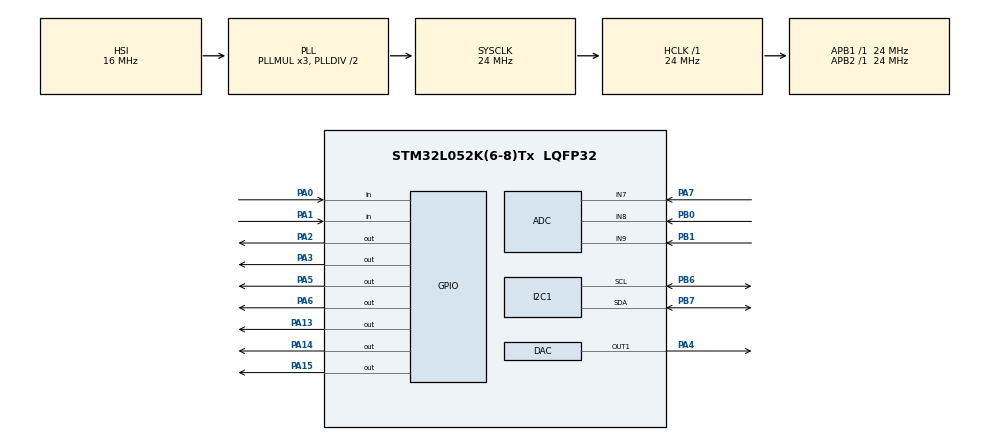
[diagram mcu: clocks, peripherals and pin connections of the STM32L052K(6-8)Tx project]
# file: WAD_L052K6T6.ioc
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ADC.ClockPrescaler=ADC_CLOCKPRESCALER_PCLK_DIV2
ADC.ContinuousConvMode=DISABLE
ADC.DMAContinuousRequests=DISABLE
ADC.DataAlign=ADC_DATAALIGN_RIGHT
ADC.DiscontinuousConvMode=DISABLE
ADC.EOCSelection=EOC_SINGLE_CONV
ADC.EnableAnalogWatchDog=false
ADC.ExternalTrigConvEdge=ADC_EXTERNALTRIG_EDGE_NONE
ADC.LowPowerAutoPowerOff=DISABLE
ADC.LowPowerAutoWait=DISABLE
ADC.LowPowerFrequencyMode=DISABLE
ADC.Overrun=OVR_DATA_PRESERVED
ADC.OversamplingMode=DISABLE
ADC.Resolution=ADC_RESOLUTION12b
ADC.SamplingTime=ADC_SAMPLETIME_1CYCLE_5
ADC.ScanConvMode=ADC_SCAN_DIRECTION_FORWARD
I2C1.OwnAddress=0x40
I2C1.Speed=50
I2C1.Timing=0x0050D9FF
Mcu.Family=STM32L0
Mcu.Name=STM32L052K(6-8)Tx
Mcu.Package=LQFP32
NVIC.RTC_IRQn=true\:0\:0\:false
PA0.Signal=GPIO_Input
PA1.Signal=GPIO_Input
PA13.Signal=GPIO_Output
PA14.Signal=GPIO_Output
PA15.GPIO_PuPd=GPIO_NOPULL
PA15.Signal=GPIO_Output
PA2.Signal=GPIO_Output
PA3.Signal=GPIO_Output
PA4.Signal=COMP_DAC1_group
PA5.Signal=GPIO_Output
PA6.Signal=GPIO_Output
PA7.Mode=IN7
PA7.Signal=ADC_IN7
PB0.Mode=IN8
PB0.Signal=ADC_IN8
PB1.Mode=IN9
PB1.Signal=ADC_IN9
PB6.Mode=I2C
PB6.Signal=I2C1_SCL
PB7.Mode=I2C
PB7.Signal=I2C1_SDA
ProjectManager.HeapSize=0x400
ProjectManager.StackSize=0x200
ProjectManager.TargetToolchain=MDK-ARM V5
RCC.AHBFreq_Value=24000000
RCC.APB1Freq_Value=24000000
RCC.APB1TimFreq_Value=24000000
RCC.APB2Freq_Value=24000000
RCC.APB2TimFreq_Value=24000000
RCC.HCLKFreq_Value=24000000
RCC.HSI16_VALUE=16000000
RCC.HSI48MClockSelection=RCC_USBCLKSOURCE_HSI48
RCC.HSI48_VALUE=48000000
RCC.HSI_VALUE=16000000
RCC.LSE_VALUE=32768
RCC.MSI_VALUE=2097000
RCC.SYSCLKFreq_VALUE=24000000
RCC.SYSCLKSource=RCC_SYSCLKSOURCE_PLLCLK
RCC.VCOOutputFreq_Value=48000000
RTC.WakeUpClock=RTC_WAKEUPCLOCK_RTCCLK_DIV4
RTC.WakeUpCounter=4625
SH.COMP_DAC1_group.0=DAC_OUT1,DAC_OUT1
VP_RTC_VS_RTC_WakeUp_intern.Mode=WakeUp
board=WAD_L052K6T6

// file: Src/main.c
/**
  ******************************************************************************
  * File Name          : main.c
  * Description        : Main program body
  ******************************************************************************
  *
  * COPYRIGHT(c) 2016 STMicroelectronics
  *
  * Redistribution and use in source and binary forms, with or without modification,
  * are permitted provided that the following conditions are met:
  *   1. Redistributions of source code must retain the above copyright notice,
  *      this list of conditions and the following disclaimer.
  *   2. Redistributions in binary form must reproduce the above copyright notice,
  *      this list of conditions and the following disclaimer in the documentation
  *      and/or other materials provided with the distribution.
  *   3. Neither the name of STMicroelectronics nor the names of its contributors
  *      may be used to endorse or promote products derived from this software
  *      without specific prior written permission.
  *
  * THIS SOFTWARE IS PROVIDED BY THE COPYRIGHT HOLDERS AND CONTRIBUTORS "AS IS"
  * AND ANY EXPRESS OR IMPLIED WARRANTIES, INCLUDING, BUT NOT LIMITED TO, THE
  * IMPLIED WARRANTIES OF MERCHANTABILITY AND FITNESS FOR A PARTICULAR PURPOSE ARE
  * DISCLAIMED. IN NO EVENT SHALL THE COPYRIGHT HOLDER OR CONTRIBUTORS BE LIABLE
  * FOR ANY DIRECT, INDIRECT, INCIDENTAL, SPECIAL, EXEMPLARY, OR CONSEQUENTIAL
  * DAMAGES (INCLUDING, BUT NOT LIMITED TO, PROCUREMENT OF SUBSTITUTE GOODS OR
  * SERVICES; LOSS OF USE, DATA, OR PROFITS; OR BUSINESS INTERRUPTION) HOWEVER
  * CAUSED AND ON ANY THEORY OF LIABILITY, WHETHER IN CONTRACT, STRICT LIABILITY,
  * OR TORT (INCLUDING NEGLIGENCE OR OTHERWISE) ARISING IN ANY WAY OUT OF THE USE
  * OF THIS SOFTWARE, EVEN IF ADVISED OF THE POSSIBILITY OF SUCH DAMAGE.
  *
  ******************************************************************************
  */
#include "stm32l0xx_hal.h"
#include "adc.h"
#include "dac.h"
#include "i2c.h"
#include "rtc.h"
#include "gpio.h"

/* USER CODE BEGIN PV */
/* Private variables ---------------------------------------------------------*/

//#define USE_SWSIG
const int DAC_OUT_TO_ADC_IN_DELAY = 10;
const uint32_t EEPROM_ADDR_SNRDRVVAL = 0;
const int SNR_CAL_DAC_OFFSET = 0x0fff / 30;
const int SNR_PASS_THRESHOLD = 0x0fff / 2;

typedef enum
{
  STATE_WAKEUP = 0,
  STATE_SLEEP
} Wakeup_Sleep_State;
Wakeup_Sleep_State wakeupSleepState = STATE_WAKEUP;

/* USER CODE END PV */

void SystemClock_Config(void);

/* USER CODE BEGIN PFP */
/* Private function prototypes -----------------------------------------------*/

#define BUTTON_PRESSED GPIO_PIN_RESET
#define BUTTON_RELEASED GPIO_PIN_SET
GPIO_PinState checkPushButton(void);
typedef enum
{
  BTNFUNC_NONE = 0,
  BTNFUNC_STATECHN,
	BTNFUNC_CAL,
} Button_Function;
Button_Function checkButtonFunction(void);
#define USB_PWR_DETECTED GPIO_PIN_SET
GPIO_PinState checkUsbPower(void);
void goSleep(void);

#define LED_ON GPIO_PIN_SET
#define LED_OFF GPIO_PIN_RESET
void setSysWakeUpLed(GPIO_PinState state);	// Green
void setSysStsLed(GPIO_PinState state); // Red
void setTestFailLed(GPIO_PinState state); // Red
void setTestPassLed(GPIO_PinState state); // Green

#define DEV_PWR_ON GPIO_PIN_RESET
#define DEV_PWR_OFF GPIO_PIN_SET
void setBlueToothDevPwr(GPIO_PinState state);
void setSensorDevPwr(GPIO_PinState state);

#define BLESIG_HI GPIO_PIN_SET
#define BLESIG_LO GPIO_PIN_RESET
void setBleSig(GPIO_PinState state);

int readAdcChannel(uint32_t channel);
int dacOutAdcIn(int dacValue, uint32_t adcChannel);
void getSnrDrvDacVal(void);
HAL_StatusTypeDef writeEEPRom32(uint32_t address, uint32_t data);
uint32_t readEEPROM32(uint32_t address);

/* USER CODE END PFP */

int main(void)
{

  /* MCU Configuration----------------------------------------------------------*/

  /* Reset of all peripherals, Initializes the Flash interface and the Systick. */
  HAL_Init();

  /* Configure the system clock */
  SystemClock_Config();

  /* Initialize all configured peripherals */
  MX_GPIO_Init();
  MX_ADC_Init();
  MX_DAC_Init();
  MX_I2C1_Init();
  MX_RTC_Init();

  /* Infinite loop */
  /* USER CODE BEGIN WHILE */
	//int loopCnt = 0;
  while (1)
  {
		Button_Function buttonFunction = checkButtonFunction();
		if (buttonFunction == BTNFUNC_STATECHN)
		{
			wakeupSleepState = (wakeupSleepState == STATE_WAKEUP) ? STATE_SLEEP : STATE_WAKEUP;
		}

		if (buttonFunction == BTNFUNC_CAL)
		{
			setSensorDevPwr(DEV_PWR_ON);
			getSnrDrvDacVal();
			setSensorDevPwr(DEV_PWR_OFF);
			wakeupSleepState = STATE_WAKEUP;
		}

		if (wakeupSleepState == STATE_WAKEUP)
		{
			uint16_t snrAdcVal = 0;

			setBlueToothDevPwr(DEV_PWR_ON);
			setSensorDevPwr(DEV_PWR_ON);
			setSysWakeUpLed(LED_ON);
			setSysStsLed(LED_OFF);

			int snrDrvDacVal = readEEPROM32(EEPROM_ADDR_SNRDRVVAL);
			if ((snrDrvDacVal < 1) || (snrDrvDacVal > 0xFFF))
			{
				getSnrDrvDacVal();
			}
			snrAdcVal = (uint16_t)dacOutAdcIn(snrDrvDacVal, ADC_CHANNEL_8);
			if (snrAdcVal > SNR_PASS_THRESHOLD)
			{
				setTestPassLed(LED_ON);
				setTestFailLed(LED_OFF);
			}
			else
			{
				setTestFailLed(LED_ON);
				setTestPassLed(LED_OFF);
			}

			if (hi2c1.State == HAL_I2C_STATE_READY)
			{
				setBleSig(BLESIG_HI);
				if (HAL_I2C_Slave_Transmit(&hi2c1, (uint8_t *)&snrAdcVal, 2, 3000) == HAL_OK)
				{
					setSysStsLed(LED_ON);
					HAL_Delay(100);
					setSysStsLed(LED_OFF);
					HAL_Delay(100);
					setSysStsLed(LED_ON);
					HAL_Delay(100);
					setSysStsLed(LED_OFF);
				}
				else
				{
					setSysStsLed(LED_ON);
					HAL_Delay(300);
					setSysStsLed(LED_OFF);
				}
			}
			else
			{
				setSysWakeUpLed(LED_OFF);
				HAL_Delay(100);
				setSysWakeUpLed(LED_ON);
				HAL_Delay(100);
				setSysWakeUpLed(LED_OFF);
				HAL_Delay(100);
				setSysWakeUpLed(LED_ON);
				HAL_Delay(100);
			}

			setTestFailLed(LED_OFF);
			setTestPassLed(LED_OFF);
			HAL_Delay(1000);
			setBleSig(BLESIG_LO);
			HAL_Delay(1000);
		}
		else
		{
			goSleep();
		}

		/*
		loopCnt++;
		if (loopCnt >= 2)
		{
			loopCnt = 0;
		}
		*/
  /* USER CODE END WHILE */

  }

}

/** System Clock Configuration
*/
void SystemClock_Config(void)
{

  RCC_OscInitTypeDef RCC_OscInitStruct;
  RCC_ClkInitTypeDef RCC_ClkInitStruct;
  RCC_PeriphCLKInitTypeDef PeriphClkInit;

  __PWR_CLK_ENABLE();

  __HAL_PWR_VOLTAGESCALING_CONFIG(PWR_REGULATOR_VOLTAGE_SCALE1);

  RCC_OscInitStruct.OscillatorType = RCC_OSCILLATORTYPE_HSI|RCC_OSCILLATORTYPE_LSI;
  RCC_OscInitStruct.HSIState = RCC_HSI_ON;
  RCC_OscInitStruct.HSICalibrationValue = 16;
  RCC_OscInitStruct.LSIState = RCC_LSI_ON;
  RCC_OscInitStruct.PLL.PLLState = RCC_PLL_ON;
  RCC_OscInitStruct.PLL.PLLSource = RCC_PLLSOURCE_HSI;
  RCC_OscInitStruct.PLL.PLLMUL = RCC_PLLMUL_3;
  RCC_OscInitStruct.PLL.PLLDIV = RCC_PLLDIV_2;
  HAL_RCC_OscConfig(&RCC_OscInitStruct);

  RCC_ClkInitStruct.ClockType = RCC_CLOCKTYPE_HCLK|RCC_CLOCKTYPE_SYSCLK
                              |RCC_CLOCKTYPE_PCLK1|RCC_CLOCKTYPE_PCLK2;
  RCC_ClkInitStruct.SYSCLKSource = RCC_SYSCLKSOURCE_PLLCLK;
  RCC_ClkInitStruct.AHBCLKDivider = RCC_SYSCLK_DIV1;
  RCC_ClkInitStruct.APB1CLKDivider = RCC_HCLK_DIV1;
  RCC_ClkInitStruct.APB2CLKDivider = RCC_HCLK_DIV1;
  HAL_RCC_ClockConfig(&RCC_ClkInitStruct, FLASH_LATENCY_1);

  PeriphClkInit.PeriphClockSelection = RCC_PERIPHCLK_I2C1|RCC_PERIPHCLK_RTC;
  PeriphClkInit.I2c1ClockSelection = RCC_I2C1CLKSOURCE_PCLK1;
  PeriphClkInit.RTCClockSelection = RCC_RTCCLKSOURCE_LSI;
  HAL_RCCEx_PeriphCLKConfig(&PeriphClkInit);

  HAL_SYSTICK_Config(HAL_RCC_GetHCLKFreq()/1000);

  HAL_SYSTICK_CLKSourceConfig(SYSTICK_CLKSOURCE_HCLK);

  /* SysTick_IRQn interrupt configuration */
  HAL_NVIC_SetPriority(SysTick_IRQn, 0, 0);
}

/* USER CODE BEGIN 4 */

GPIO_PinState checkPushButton(void)
{
	return HAL_GPIO_ReadPin(GPIOA, GPIO_PIN_1);
}

Button_Function checkButtonFunction(void)
{
	Button_Function buttonFunction = BTNFUNC_NONE;
	GPIO_PinState buttonState = checkPushButton();
	if (buttonState == BUTTON_PRESSED)
	{
		setSysStsLed(LED_ON);
		HAL_Delay(1000);
		GPIO_PinState buttonState = checkPushButton();
		if (buttonState == BUTTON_PRESSED)
		{
			buttonFunction = BTNFUNC_STATECHN;
			setSysStsLed(LED_OFF);
			HAL_Delay(1000);
			GPIO_PinState buttonState = checkPushButton();
			if (buttonState == BUTTON_PRESSED)
			{
				setSysStsLed(LED_ON);
				HAL_Delay(1000);
				buttonFunction = BTNFUNC_CAL;
			}
		}
	}
	return buttonFunction;
}

void goSleep(void)
{
	setSensorDevPwr(DEV_PWR_OFF);
	setSysWakeUpLed(LED_OFF);
	setSysStsLed(LED_OFF);
	setTestPassLed(LED_OFF);
	setTestFailLed(LED_OFF);

	int adcVolBat = 0;
	do
	{
		HAL_SuspendTick();
		HAL_PWR_EnterSLEEPMode(PWR_MAINREGULATOR_ON, PWR_SLEEPENTRY_WFE);
		HAL_ResumeTick();
		adcVolBat = readAdcChannel(ADC_CHANNEL_7);
		if (adcVolBat < (0x0400))
		{
			setSysStsLed(LED_ON);
			HAL_Delay(10);
			setSysStsLed(LED_OFF);
			HAL_Delay(200);
			setSysStsLed(LED_ON);
			HAL_Delay(10);
			setSysStsLed(LED_OFF);
		}
	} while (adcVolBat < (0x0400));
}

GPIO_PinState checkUsbPower(void)
{
	return HAL_GPIO_ReadPin(GPIOA, GPIO_PIN_0);
}

void setSysWakeUpLed(GPIO_PinState state)	// Green
{
#ifdef USE_SWSIG
	HAL_GPIO_WritePin(GPIOA, GPIO_PIN_3, state);
#else
	HAL_GPIO_WritePin(GPIOA, GPIO_PIN_13, state);
#endif
}

void setSysStsLed(GPIO_PinState state) // Red
{
#ifdef USE_SWSIG
	HAL_GPIO_WritePin(GPIOA, GPIO_PIN_2, state);
#else
	HAL_GPIO_WritePin(GPIOA, GPIO_PIN_14, state);
#endif
}

void setTestFailLed(GPIO_PinState state) // Red
{
	HAL_GPIO_WritePin(GPIOA, GPIO_PIN_2, state);
}

void setTestPassLed(GPIO_PinState state)	// Green
{
	HAL_GPIO_WritePin(GPIOA, GPIO_PIN_3, state);
}

void setBlueToothDevPwr(GPIO_PinState state)
{
	HAL_GPIO_WritePin(GPIOA, GPIO_PIN_5, state);
}

void setSensorDevPwr(GPIO_PinState state)
{
	HAL_GPIO_WritePin(GPIOA, GPIO_PIN_6, state);
}

void setBleSig(GPIO_PinState state)
{
	HAL_GPIO_WritePin(GPIOA, GPIO_PIN_15, state);
}

int readAdcChannel(uint32_t channel)
{
	int rtn = -1;

  HAL_ADC_Init(&hadc);
  ADC_ChannelConfTypeDef sConfig;

	static uint32_t channels[3] = {ADC_CHANNEL_7, ADC_CHANNEL_9, ADC_CHANNEL_9};
	for (int idx = 0; idx < 3; idx++)
	{
		sConfig.Channel = channels[idx];
		if (channel == sConfig.Channel)
		{
			sConfig.Rank = ADC_RANK_CHANNEL_NUMBER;
		}
		else
		{
			sConfig.Rank = ADC_RANK_NONE;
		}
		HAL_ADC_ConfigChannel(&hadc, &sConfig);
	}

	int adcRead[3] = {-1, -1, -1};
	for (int i=0; i<3; i++)
	{
		if (HAL_ADC_Start(&hadc) == HAL_OK)
		{
			if (HAL_ADC_PollForConversion(&hadc, 1000) == HAL_OK)
			{
				adcRead[i] = (int)HAL_ADC_GetValue(&hadc);
				HAL_ADC_Stop(&hadc);
			}
			else
			{
				HAL_ADC_Stop(&hadc);
				break;
			}
		}
		else
		{
			break;
		}
	}

	if ((adcRead[0] >= 0) && (adcRead[1] >= 0) && (adcRead[2] >= 0))
	{
		rtn = (adcRead[0] + adcRead[1] + adcRead[2])/3;
	}
	return rtn;
}

int dacOutAdcIn(int dacValue, uint32_t adcChannel)
{
	HAL_DAC_Start(&hdac, DAC_CHANNEL_1);
	HAL_DAC_SetValue(&hdac, DAC_CHANNEL_1, DAC_ALIGN_12B_R, dacValue);
	HAL_Delay(DAC_OUT_TO_ADC_IN_DELAY); // ms
	int adcValue = readAdcChannel(adcChannel);
	HAL_DAC_Stop(&hdac, DAC_CHANNEL_1);
	return adcValue;
}

void getSnrDrvDacVal()
{
	int maxAdc = 0;
	int snrDrvDacVal = 0;
	dacOutAdcIn(0, ADC_CHANNEL_9);
	setSysWakeUpLed(LED_ON);
	setSysStsLed(LED_ON);
	HAL_Delay(3000);
	setSysWakeUpLed(LED_OFF);
	setSysStsLed(LED_OFF);
#ifdef USE_SWSIG
	for (int dacStep = 0x0000; dacStep <= 0x0fff; dacStep += 0x10)
#else
	for (int dacStep = 0x0000; dacStep <= 0x0fff; dacStep++)
#endif
	{
		int adcValue = dacOutAdcIn(dacStep, ADC_CHANNEL_9);
		if (adcValue > maxAdc)
		{
			maxAdc = adcValue;
			snrDrvDacVal = dacStep;
		}
		setSysWakeUpLed((dacStep & 0x0100) ? LED_ON : LED_OFF);
		setSysStsLed((dacStep & 0x0200) ? LED_ON : LED_OFF);
		setTestFailLed((dacStep & 0x0400) ? LED_ON : LED_OFF);
		setTestPassLed((dacStep & 0x0800) ? LED_ON : LED_OFF);
	}
	if (snrDrvDacVal < (0xfff - SNR_CAL_DAC_OFFSET))
	{
		snrDrvDacVal += SNR_CAL_DAC_OFFSET;
	}
	writeEEPRom32(EEPROM_ADDR_SNRDRVVAL, (uint32_t)snrDrvDacVal);
	setSysWakeUpLed(LED_OFF);
	setSysStsLed(LED_OFF);
	setTestFailLed(LED_OFF);
	setTestPassLed(LED_OFF);
}

HAL_StatusTypeDef writeEEPRom32(uint32_t address, uint32_t data)
{
	HAL_StatusTypeDef status = HAL_FLASHEx_DATAEEPROM_Unlock();
	if (status == HAL_OK)
	{
		status = HAL_FLASHEx_DATAEEPROM_Program(FLASH_TYPEPROGRAMDATA_WORD, address + DATA_EEPROM_BASE, data);
	}
	HAL_FLASHEx_DATAEEPROM_Lock();
  return status;
}

uint32_t readEEPROM32(uint32_t address)
{
	return *(__IO uint32_t*)(address + DATA_EEPROM_BASE);
}

void HAL_I2C_SlaveRxCpltCallback(I2C_HandleTypeDef *hi2c)
{

}

/* USER CODE END 4 */

/************************ (C) COPYRIGHT STMicroelectronics *****END OF FILE****/
